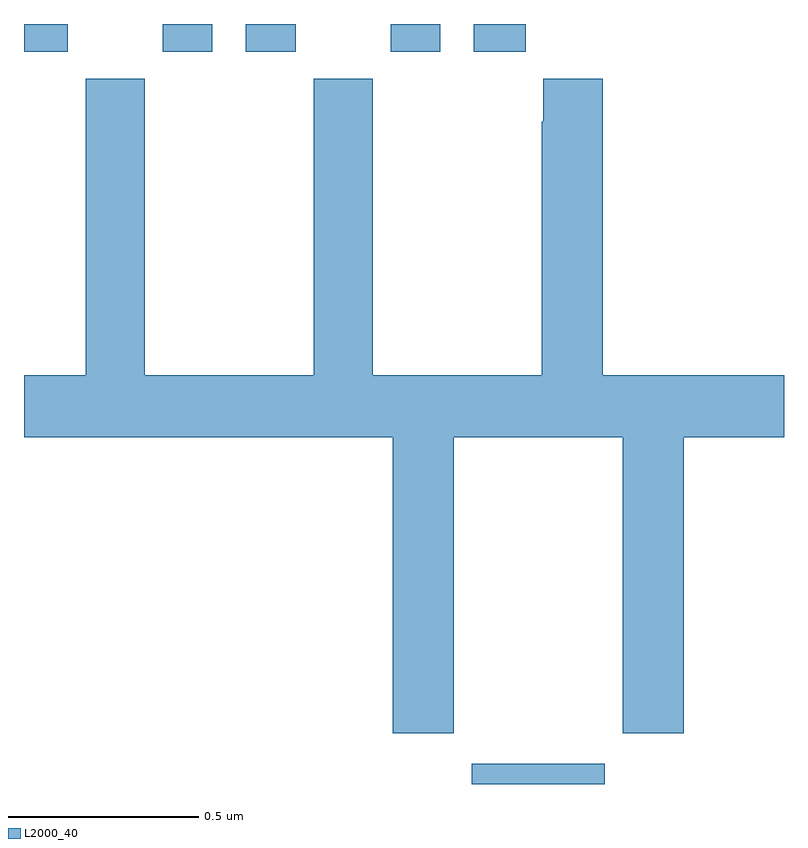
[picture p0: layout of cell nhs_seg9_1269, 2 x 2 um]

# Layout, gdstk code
import gdstk
lib = gdstk.Library(unit=1e-6, precision=1e-09)
def R(c, l, rs):  # rectangles x0, y0, x1, y1
    for r in rs: c.add(gdstk.rectangle(r[:2], r[2:], *l))
def P(c, l, *ps):  # polygons
    for p in ps: c.add(gdstk.Polygon(p, *l))
L2000_40 = (2000, 40)

nhs_seg9_1269 = lib.new_cell('nhs_seg9_1269')
R(nhs_seg9_1269, L2000_40, [(127.178,1203.5,127.528,1203.553), (126,1205.427,126.115,1205.5), (126.365,1205.427,126.496,1205.5), (126.584,1205.427,126.715,1205.5), (126.965,1205.427,127.096,1205.5), (127.184,1205.427,127.321,1205.5)])
P(nhs_seg9_1269, L2000_40, [(127.131,1204.412),(127.576,1204.412),(127.576,1203.633),(127.736,1203.633),(127.736,1204.412),(128,1204.412),(128,1204.576),(127.523,1204.576),(127.523,1205.356),(127.367,1205.356),(127.367,1205.243),(127.363,1205.243),(127.363,1204.576),(126.918,1204.576),(126.918,1205.356),(126.763,1205.356),(126.763,1204.576),(126.318,1204.576),(126.318,1205.356),(126.163,1205.356),(126.163,1204.576),(126,1204.576),(126,1204.412),(126.971,1204.412),(126.971,1203.633),(127.131,1203.633)])

lib.write_gds('nhs_seg9_1269.gds')
